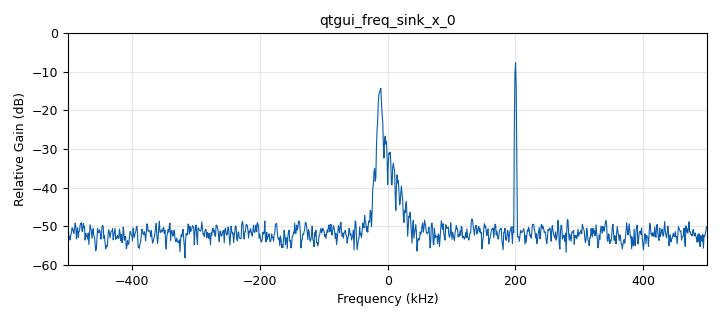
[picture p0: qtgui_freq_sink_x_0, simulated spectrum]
options:
  parameters:
    author: mbr0wn
    generate_options: qt_gui
    id: welch_qt_sink
    output_language: python
    title: Welch vs. QT Freq Sink
  states: {}

blocks:
- name: fft_len
  id: variable
  parameters:
    value: '1024'
  states: {}
- name: samp_rate
  id: variable
  parameters:
    value: 1e6
  states: {}
- name: analog_fastnoise_source_x_0
  id: analog_fastnoise_source_x
  parameters:
    amp: '.2'
    comment: |-
      We generate a bunch of unrelated signals,
      including a noise source.
    noise_type: analog.GR_GAUSSIAN
    samples: '8192'
    seed: '0'
    type: complex
  states: {}
- name: analog_random_source_x_0
  id: analog_random_source_x
  parameters:
    max: '2'
    min: '0'
    num_samps: '1000'
    repeat: 'True'
    type: byte
  states: {}
- name: analog_sig_source_x_0
  id: analog_sig_source_x
  parameters:
    amp: '1'
    freq: 200e3
    offset: '0'
    phase: '0'
    samp_rate: samp_rate
    type: complex
    waveform: analog.GR_COS_WAVE
  states: {}
- name: blocks_add_xx_0
  id: blocks_add_xx
  parameters:
    num_inputs: '3'
    type: complex
  states: {}
- name: blocks_nlog10_ff_0
  id: blocks_nlog10_ff
  parameters:
    k: '0'
    n: '10'
    vlen: fft_len
  states: {}
- name: blocks_throttle_0
  id: blocks_throttle
  parameters:
    samples_per_second: samp_rate
    type: complex
  states: {}
- name: digital_gmsk_mod_0
  id: digital_gmsk_mod
  parameters:
    bt: '0.35'
    samples_per_symbol: '2'
  states: {}
- name: qtgui_freq_sink_x_0
  id: qtgui_freq_sink_x
  parameters:
    average: '0.1'
    bw: samp_rate
    fc: '0'
    fftsize: fft_len
    grid: 'True'
    type: complex
    wintype: firdes.WIN_BLACKMAN
    ymax: '0'
    ymin: '-60'
  states: {}
- name: qtgui_vector_sink_f_0
  id: qtgui_vector_sink_f
  parameters:
    grid: 'True'
    label1: PSD
    vlen: fft_len
    x_axis_label: Frequency (MHz)
    x_start: '-samp_rate/2/1e6'
    x_step: samp_rate/fft_len/1e6
    x_units: kHz
    y_axis_label: Power Spectrum Density
    y_units: dB
    ymax: '30'
    ymin: '-30'
  states: {}
- name: rational_resampler_xxx_0
  id: rational_resampler_xxx
  parameters:
    decim: '1'
    interp: '10'
    taps: ''
    type: ccc
  states: {}
- name: specest_welch_0
  id: specest_welch
  parameters:
    beta: '6.76'
    fftlen: fft_len
    fftshift: 'True'
    malen: '16'
    overlap: '-1'
    wintype: firdes.WIN_BLACKMAN
  states: {}

connections:
- [analog_fastnoise_source_x_0, '0', blocks_add_xx_0, '2']
- [analog_random_source_x_0, '0', digital_gmsk_mod_0, '0']
- [analog_sig_source_x_0, '0', blocks_throttle_0, '0']
- [blocks_add_xx_0, '0', qtgui_freq_sink_x_0, '0']
- [blocks_add_xx_0, '0', specest_welch_0, '0']
- [blocks_nlog10_ff_0, '0', qtgui_vector_sink_f_0, '0']
- [blocks_throttle_0, '0', blocks_add_xx_0, '1']
- [digital_gmsk_mod_0, '0', rational_resampler_xxx_0, '0']
- [rational_resampler_xxx_0, '0', blocks_add_xx_0, '0']
- [specest_welch_0, '0', blocks_nlog10_ff_0, '0']

metadata:
  file_format: 1
